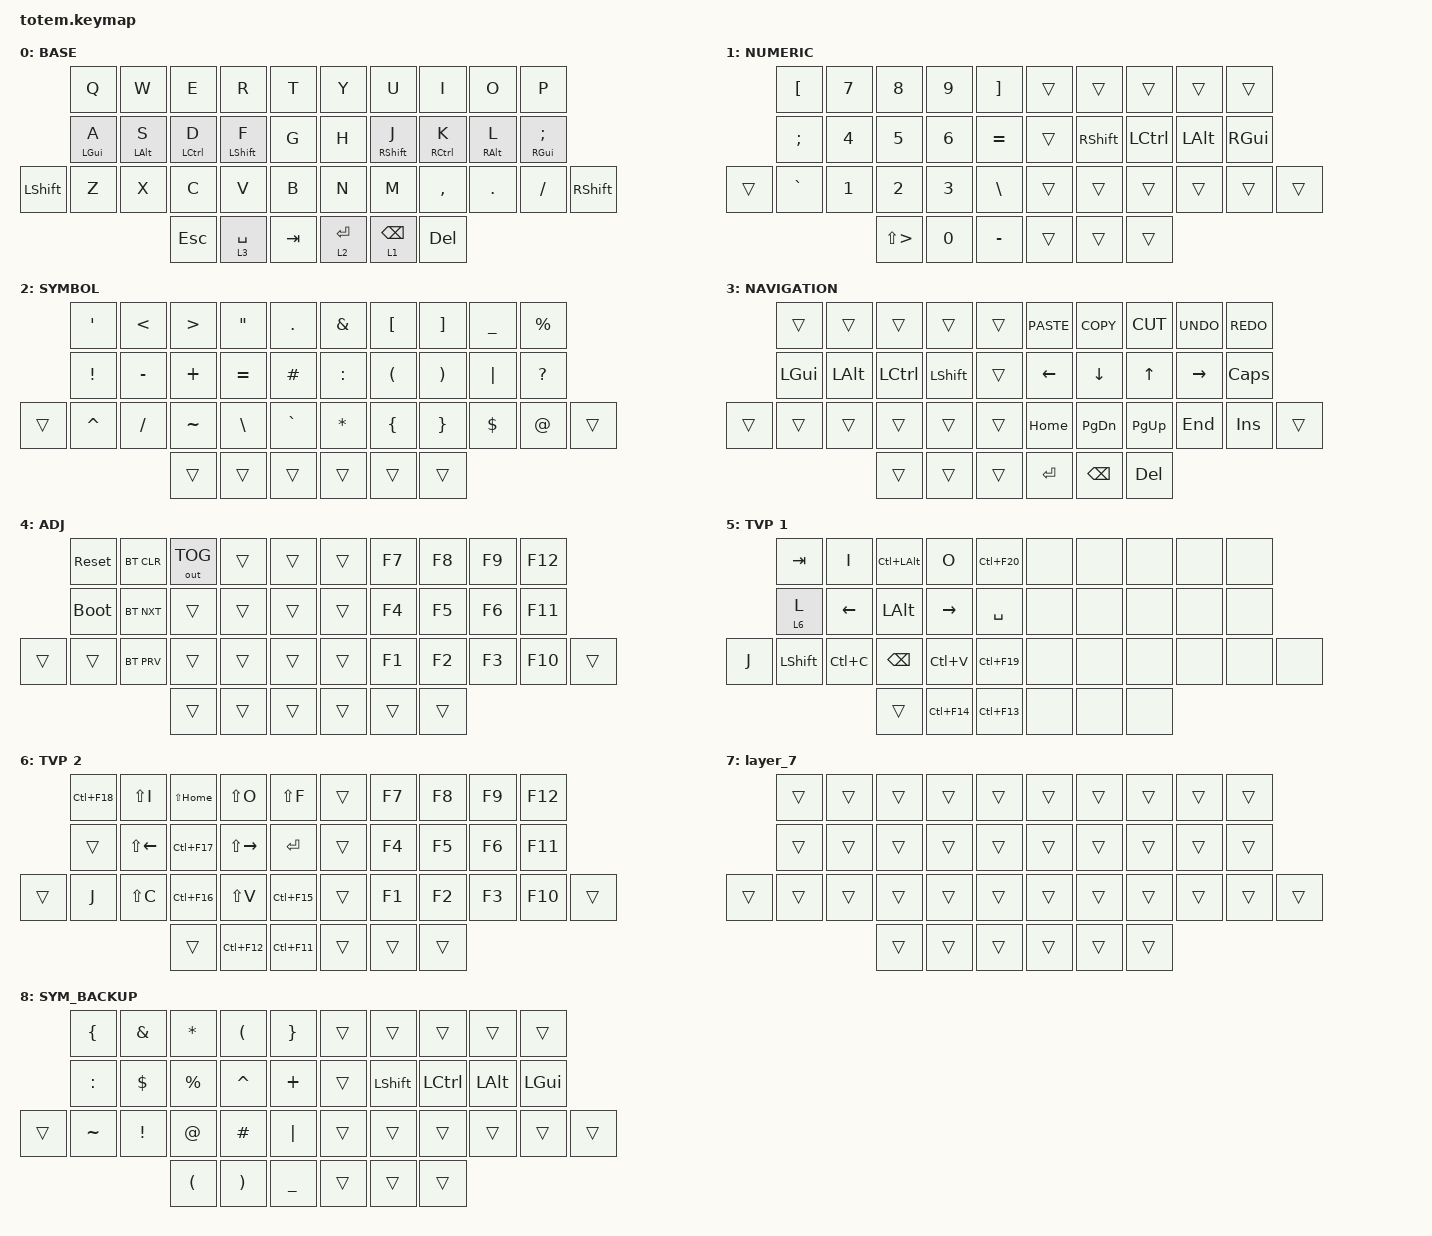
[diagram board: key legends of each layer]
//
//                                                        ▀▀▀▀▀     ▀▀▀▀▀          ▀▀█▀▀
//                                                        ▄▀▀▀▄  ▄  ▄▀▀▀▄  ▄  ▄▀▀▀▄  █  ▄▀▀▀▄
//                                                        █   █  █  █   █  █  █   █  █  █   █
//                                                         ▀▀▀   █   ▀▀▀   █   ▀▀▀   ▀   ▀▀▀
//                                                               █      ▄▄▄█▄▄▄    █   █  
//                                                               ▀      █  █  █     █▄█
//                                                             ▀▀▀▀▀    █  █  █      ▀
//                                                                      ▀  ▀  ▀
//
// ▄▄▄▄▄▄▄▄▄▄▄▄▄▄▄▄▄▄▄▄▄▄▄▄▄▄▄▄▄▄▄▄▄▄▄▄▄▄▄▄▄▄▄▄▄▄▄▄▄▄▄▄▄▄▄▄▄▄▄▄▄▄▄▄▄▄▄▄▄▄▄▄▄▄▄▄▄▄▄▄▄▄▄▄▄▄▄▄▄▄▄▄▄▄▄▄▄▄▄▄▄▄▄▄▄▄▄▄▄▄▄▄▄▄▄▄▄▄▄▄▄▄▄▄▄▄▄▄▄▄▄▄▄▄▄▄▄▄▄▄▄▄▄▄▄▄▄▄▄

#include <behaviors.dtsi>
#include <dt-bindings/zmk/bt.h>
#include <dt-bindings/zmk/keys.h>
#include <dt-bindings/zmk/outputs.h>

#define BASE 0
#define NAV  1
#define SYM  2
#define ADJ  3
#define TVP1 4
#define TVP2 5

/ {
    combos { compatible = "zmk,combos"; };

    behaviors {
        hml: homerow_mods_left {
            compatible = "zmk,behavior-hold-tap";
            label = "Homerow Mods - Left Hand";
            #binding-cells = <2>;
            flavor = "balanced";
            tapping-term-ms = <280>;
            hold-trigger-on-release;
            require-prior-idle-ms = <150>;
            bindings = <&kp>, <&kp>;

            hold-trigger-key-positions = <32 33 34 35 36 37 5 6 7 8 9 15 16 17 18 19 26 27 28 29 30 31 36 37>;
        };

        hmr: homerow_mods_right {
            compatible = "zmk,behavior-hold-tap";
            label = "Homerow Mods - Right Hand";
            #binding-cells = <2>;
            flavor = "balanced";
            tapping-term-ms = <280>;
            hold-trigger-on-release;
            require-prior-idle-ms = <150>;
            bindings = <&kp>, <&kp>;

            hold-trigger-key-positions = <35 36 37 0 1 2 3 4 10 11 12 13 14 20 21 22 23 24 25 32 33 34>;
        };
    };

    keymap {
        compatible = "zmk,keymap";

        // ▄▄▄▄▄▄▄▄▄▄▄▄▄▄▄▄▄▄▄▄▄▄▄▄▄▄▄▄▄▄▄▄▄▄▄▄▄▄▄▄▄▄▄▄▄▄▄▄▄▄▄▄▄▄▄▄▄▄▄▄▄▄▄▄▄▄▄▄▄▄▄▄▄▄▄▄▄▄▄▄▄▄▄▄▄▄▄▄▄▄▄▄▄▄▄▄▄▄▄▄▄▄▄▄▄▄▄▄▄▄▄▄▄▄▄▄▄▄▄▄▄▄▄▄▄▄▄▄▄▄▄▄▄▄▄▄▄▄▄▄▄▄▄▄▄▄▄▄▄

        base_layer {
            // ┏━━━━━━━━━━━━━━━━━━━━━━━━━━━━━━━━━━━━━━━┓

            label = "BASE";

            // ┗━━━━━━━━━━━━━━━━━━━━━━━━━━━━━━━━━━━━━━━┛
            //             ┏━━━━━━━━━━━┳━━━━━━━━━━━┳━━━━━━━━━━━┳━━━━━━━━━━━┳━━━━━━━━━━━┓   ┏━━━━━━━━━━━┳━━━━━━━━━━━┳━━━━━━━━━━━┳━━━━━━━━━━━┳━━━━━━━━━━━┓
            //             ┃     Q     ┃     W     ┃     F     ┃     P     ┃     G     ┃   ┃     J     ┃     L     ┃     U     ┃     Y     ┃     ;     ┃
            //             ┣━━━━━━━━━━━╋━━━━━━━━━━━╋━━━━━━━━━━━╋━━━━━━━━━━━╋━━━━━━━━━━━┫   ┣━━━━━━━━━━━╋━━━━━━━━━━━╋━━━━━━━━━━━╋━━━━━━━━━━━╋━━━━━━━━━━━┫
            //             ┃     A     ┃     R     ┃     S     ┃     T     ┃     D     ┃   ┃     H     ┃     N     ┃     E     ┃     I     ┃     O     ┃
            // ┏━━━━━━━━━━━╋━━━━━━━━━━━╋━━━━━━━━━━━╋━━━━━━━━━━━╋━━━━━━━━━━━╋━━━━━━━━━━━┫   ┣━━━━━━━━━━━╋━━━━━━━━━━━╋━━━━━━━━━━━╋━━━━━━━━━━━╋━━━━━━━━━━━╋━━━━━━━━━━━┓
            // ┃     Q     ┃     Z     ┃     X     ┃     C     ┃     V     ┃     B     ┃   ┃     K     ┃     M     ┃     ,     ┃     .     ┃     /     ┃     \     ┃
            // ┗━━━━━━━━━━━┻━━━━━━━━━━━┻━━━━━━━━━━━╋━━━━━━━━━━━╋━━━━━━━━━━━╋━━━━━━━━━━━┫   ┣━━━━━━━━━━━╋━━━━━━━━━━━╋━━━━━━━━━━━╋━━━━━━━━━━━┻━━━━━━━━━━━┻━━━━━━━━━━━┛
            //                                     ┃    DEL    ┃    TAB    ┃    SPC    ┃   ┃   ENTER   ┃           ┃   BSPC    ┃
            //                                     ┗━━━━━━━━━━━┻━━━━━━━━━━━┻━━━━━━━━━━━┛   ┗━━━━━━━━━━━┻━━━━━━━━━━━┻━━━━━━━━━━━┛

            bindings = <
                &kp Q        &kp W        &kp E         &kp R         &kp T      &kp Y        &kp U            &kp I         &kp O        &kp P
                &hml LGUI A  &hml LALT S  &hml LCTRL D  &hml LSHFT F  &kp G      &kp H        &hmr RSHFT J     &hmr RCTRL K  &hmr RALT L  &hmr RGUI SEMICOLON
&kp LEFT_SHIFT  &kp Z        &kp X        &kp C         &kp V         &kp B      &kp N        &kp M            &kp COMMA     &kp DOT      &kp FSLH             &kp RIGHT_SHIFT
                                          &kp ESCAPE    &lt 3 SPACE   &kp TAB    &lt 2 ENTER  &lt 1 BACKSPACE  &kp DELETE
            >;
        };

        numeric {
            bindings = <
        &kp LBKT   &kp N7  &kp N8      &kp N9  &kp RBKT     &trans  &trans     &trans     &trans    &trans
        &kp SEMI   &kp N4  &kp N5      &kp N6  &kp EQUAL    &trans  &kp RSHFT  &kp LCTRL  &kp LALT  &kp RGUI
&trans  &kp GRAVE  &kp N1  &kp N2      &kp N3  &kp BSLH     &trans  &trans     &trans     &trans    &trans    &trans
                           &kp LS(GT)  &kp N0  &kp MINUS    &trans  &trans     &trans
            >;

            label = "NUMERIC";
        };

        symbol {
            bindings = <
        &kp SINGLE_QUOTE  &kp LESS_THAN  &kp GREATER_THAN  &kp DOUBLE_QUOTES  &kp DOT      &kp AMPERSAND  &kp LBKT              &kp RBKT               &kp UNDERSCORE  &kp PERCENT
        &kp EXCLAMATION   &kp MINUS      &kp PLUS          &kp EQUAL          &kp HASH     &kp COLON      &kp LEFT_PARENTHESIS  &kp RIGHT_PARENTHESIS  &kp PIPE        &kp QUESTION
&trans  &kp CARET         &kp FSLH       &kp TILDE         &kp BSLH           &kp GRAVE    &kp ASTERISK   &kp LEFT_BRACE        &kp RIGHT_BRACE        &kp DOLLAR      &kp AT        &trans
                                         &trans            &trans             &trans       &trans         &trans                &trans
            >;

            label = "SYMBOL";
        };

        navigation {
            // ┏━━━━━━━━━━━━━━━━━━━━━━━━━━━━━━━━━━━━━━━┓

            label = "NAVIGATION";

            // ┗━━━━━━━━━━━━━━━━━━━━━━━━━━━━━━━━━━━━━━━┛
            //             ┏━━━━━━━━━━━┳━━━━━━━━━━━┳━━━━━━━━━━━┳━━━━━━━━━━━┳━━━━━━━━━━━┓   ┏━━━━━━━━━━━┳━━━━━━━━━━━┳━━━━━━━━━━━┳━━━━━━━━━━━┳━━━━━━━━━━━┓
            //             ┃           ┃           ┃     UP    ┃           ┃     {     ┃   ┃     }     ┃     7     ┃     8     ┃     9     ┃     +     ┃
            //             ┣━━━━━━━━━━━╋━━━━━━━━━━━╋━━━━━━━━━━━╋━━━━━━━━━━━╋━━━━━━━━━━━┫   ┣━━━━━━━━━━━╋━━━━━━━━━━━╋━━━━━━━━━━━╋━━━━━━━━━━━╋━━━━━━━━━━━┫
            //             ┃   SHIFT   ┃   LEFT    ┃    DOWN   ┃   RIGHT   ┃     [     ┃   ┃     ]     ┃     4     ┃     5     ┃     6     ┃     -     ┃
            // ┏━━━━━━━━━━━╋━━━━━━━━━━━╋━━━━━━━━━━━╋━━━━━━━━━━━╋━━━━━━━━━━━╋━━━━━━━━━━━┫   ┣━━━━━━━━━━━╋━━━━━━━━━━━╋━━━━━━━━━━━╋━━━━━━━━━━━╋━━━━━━━━━━━╋━━━━━━━━━━━┓
            // ┃           ┃           ┃   P UP    ┃  C LOCK   ┃  P DOWN   ┃     (     ┃   ┃     )     ┃     1     ┃     2     ┃     3     ┃     *     ┃           ┃
            // ┗━━━━━━━━━━━┻━━━━━━━━━━━┻━━━━━━━━━━━╋━━━━━━━━━━━╋━━━━━━━━━━━╋━━━━━━━━━━━┫   ┣━━━━━━━━━━━╋━━━━━━━━━━━╋━━━━━━━━━━━╋━━━━━━━━━━━┻━━━━━━━━━━━┻━━━━━━━━━━━┛
            //                                     ┃           ┃    TAB    ┃    SPC    ┃   ┃    DEL    ┃     0     ┃           ┃
            //                                     ┗━━━━━━━━━━━┻━━━━━━━━━━━┻━━━━━━━━━━━┛   ┗━━━━━━━━━━━┻━━━━━━━━━━━┻━━━━━━━━━━━┛

            bindings = <
        &trans        &trans        &trans            &trans          &trans    &kp K_PASTE     &kp K_COPY      &kp K_CUT     &kp K_UNDO       &kp K_REDO
        &kp LEFT_GUI  &kp LEFT_ALT  &kp LEFT_CONTROL  &kp LEFT_SHIFT  &trans    &kp LEFT_ARROW  &kp DOWN_ARROW  &kp UP_ARROW  &kp RIGHT_ARROW  &kp CAPSLOCK
&trans  &trans        &trans        &trans            &trans          &trans    &kp HOME        &kp PAGE_DOWN   &kp PAGE_UP   &kp END          &kp INSERT    &trans
                                    &trans            &trans          &trans    &kp ENTER       &kp BACKSPACE   &kp DELETE
            >;
        };

        adjust_layer {
            // ┏━━━━━━━━━━━━━━━━━━━━━━━━━━━━━━━━━━━━━━━┓

            label = "ADJ";

            // ┗━━━━━━━━━━━━━━━━━━━━━━━━━━━━━━━━━━━━━━━┛
            //             ┏━━━━━━━━━━━┳━━━━━━━━━━━┳━━━━━━━━━━━┳━━━━━━━━━━━┳━━━━━━━━━━━┓   ┏━━━━━━━━━━━┳━━━━━━━━━━━┳━━━━━━━━━━━┳━━━━━━━━━━━┳━━━━━━━━━━━┓
            //             ┃   RESET   ┃ BT CLEAR  ┃  OUT TOG  ┃           ┃           ┃   ┃           ┃    F7     ┃    F8     ┃    F9     ┃    F12    ┃
            //             ┣━━━━━━━━━━━╋━━━━━━━━━━━╋━━━━━━━━━━━╋━━━━━━━━━━━╋━━━━━━━━━━━┫   ┣━━━━━━━━━━━╋━━━━━━━━━━━╋━━━━━━━━━━━╋━━━━━━━━━━━╋━━━━━━━━━━━┫
            //             ┃ BOOTLOAD  ┃ BT NEXT   ┃           ┃           ┃           ┃   ┃           ┃    F4     ┃    F5     ┃    F6     ┃    F11    ┃
            // ┏━━━━━━━━━━━╋━━━━━━━━━━━╋━━━━━━━━━━━╋━━━━━━━━━━━╋━━━━━━━━━━━╋━━━━━━━━━━━┫   ┣━━━━━━━━━━━╋━━━━━━━━━━━╋━━━━━━━━━━━╋━━━━━━━━━━━╋━━━━━━━━━━━╋━━━━━━━━━━━┓
            // ┃           ┃           ┃ BT PREV   ┃           ┃           ┃           ┃   ┃           ┃    F1     ┃    F2     ┃    F3     ┃    F10    ┃           ┃
            // ┗━━━━━━━━━━━┻━━━━━━━━━━━┻━━━━━━━━━━━╋━━━━━━━━━━━╋━━━━━━━━━━━╋━━━━━━━━━━━┫   ┣━━━━━━━━━━━╋━━━━━━━━━━━╋━━━━━━━━━━━╋━━━━━━━━━━━┻━━━━━━━━━━━┻━━━━━━━━━━━┛
            //                                     ┃           ┃           ┃           ┃   ┃           ┃           ┃           ┃
            //                                     ┗━━━━━━━━━━━┻━━━━━━━━━━━┻━━━━━━━━━━━┛   ┗━━━━━━━━━━━┻━━━━━━━━━━━┻━━━━━━━━━━━┛

            bindings = <
        &sys_reset   &bt BT_CLR  &out OUT_TOG  &trans  &trans    &trans  &kp F7  &kp F8  &kp F9  &kp F12
        &bootloader  &bt BT_NXT  &trans        &trans  &trans    &trans  &kp F4  &kp F5  &kp F6  &kp F11
&trans  &trans       &bt BT_PRV  &trans        &trans  &trans    &trans  &kp F1  &kp F2  &kp F3  &kp F10  &trans
                                 &trans        &trans  &trans    &trans  &trans  &trans
            >;
        };

        tvp1_layer {
            // ┏━━━━━━━━━━━━━━━━━━━━━━━━━━━━━━━━━━━━━━━┓

            label = "TVP 1";

            // ┗━━━━━━━━━━━━━━━━━━━━━━━━━━━━━━━━━━━━━━━┛
            //             ┏━━━━━━━━━━━┳━━━━━━━━━━━┳━━━━━━━━━━━┳━━━━━━━━━━━┳━━━━━━━━━━━┓   ┏━━━━━━━━━━━┳━━━━━━━━━━━┳━━━━━━━━━━━┳━━━━━━━━━━━┳━━━━━━━━━━━┓
            //             ┃ NEXT FILE ┃ MARK IN   ┃ ROTATE    ┃ MARK OUT  ┃ SHOW SNAP ┃   ┃           ┃           ┃           ┃           ┃           ┃
            //             ┣━━━━━━━━━━━╋━━━━━━━━━━━╋━━━━━━━━━━━╋━━━━━━━━━━━╋━━━━━━━━━━━┫   ┣━━━━━━━━━━━╋━━━━━━━━━━━╋━━━━━━━━━━━╋━━━━━━━━━━━╋━━━━━━━━━━━┫
            //             ┃ TVP II    ┃ LEFT      ┃ PAN       ┃ RIGHT     ┃ PLAY/FLIP ┃   ┃           ┃           ┃           ┃           ┃           ┃
            // ┏━━━━━━━━━━━╋━━━━━━━━━━━╋━━━━━━━━━━━╋━━━━━━━━━━━╋━━━━━━━━━━━╋━━━━━━━━━━━┫   ┣━━━━━━━━━━━╋━━━━━━━━━━━╋━━━━━━━━━━━╋━━━━━━━━━━━╋━━━━━━━━━━━╋━━━━━━━━━━━┓
            // ┃ FULLSCR   ┃ SHIFT     ┃ COPY      ┃ DELETE    ┃ PASTE     ┃ IMG MARK  ┃   ┃           ┃           ┃           ┃           ┃           ┃           ┃
            // ┗━━━━━━━━━━━┻━━━━━━━━━━━┻━━━━━━━━━━━╋━━━━━━━━━━━╋━━━━━━━━━━━╋━━━━━━━━━━━┫   ┣━━━━━━━━━━━╋━━━━━━━━━━━╋━━━━━━━━━━━╋━━━━━━━━━━━┻━━━━━━━━━━━┻━━━━━━━━━━━┛
            //                                     ┃           ┃ UNDO/SAVE ┃  SEL/MOV  ┃   ┃           ┃           ┃           ┃
            //                                     ┗━━━━━━━━━━━┻━━━━━━━━━━━┻━━━━━━━━━━━┛   ┗━━━━━━━━━━━┻━━━━━━━━━━━┻━━━━━━━━━━━┛

            bindings = <
       &kp TAB    &kp I      &kp LC(LALT)  &kp O        &kp LC(F20)    &none  &none  &none  &none  &none
       &lt 6 L    &kp LEFT   &kp LALT      &kp RIGHT    &kp SPACE      &none  &none  &none  &none  &none
&kp J  &kp LSHFT  &kp LC(C)  &kp BSPC      &kp LC(V)    &kp LC(F19)    &none  &none  &none  &none  &none  &none
                             &trans        &kp LC(F14)  &kp LC(F13)    &none  &none  &none
            >;
        };

        tvp2_layer {
            // ┏━━━━━━━━━━━━━━━━━━━━━━━━━━━━━━━━━━━━━━━┓

            label = "TVP 2";

            // ┗━━━━━━━━━━━━━━━━━━━━━━━━━━━━━━━━━━━━━━━┛
            //             ┏━━━━━━━━━━━┳━━━━━━━━━━━┳━━━━━━━━━━━┳━━━━━━━━━━━┳━━━━━━━━━━━┓   ┏━━━━━━━━━━━┳━━━━━━━━━━━┳━━━━━━━━━━━┳━━━━━━━━━━━┳━━━━━━━━━━━┓
            //             ┃ SOLO      ┃ TOGGLE IN ┃ RESET ROT ┃ TOGGLE OUT┃ TAKE SNAP ┃   ┃           ┃           ┃           ┃           ┃           ┃
            //             ┣━━━━━━━━━━━╋━━━━━━━━━━━╋━━━━━━━━━━━╋━━━━━━━━━━━╋━━━━━━━━━━━┫   ┣━━━━━━━━━━━╋━━━━━━━━━━━╋━━━━━━━━━━━╋━━━━━━━━━━━╋━━━━━━━━━━━┫
            //             ┃ ---       ┃ LAST KEY  ┃ NEW KEY   ┃ NEXT KEY  ┃ ENTER     ┃   ┃           ┃           ┃           ┃           ┃           ┃
            // ┏━━━━━━━━━━━╋━━━━━━━━━━━╋━━━━━━━━━━━╋━━━━━━━━━━━╋━━━━━━━━━━━╋━━━━━━━━━━━┫   ┣━━━━━━━━━━━╋━━━━━━━━━━━╋━━━━━━━━━━━╋━━━━━━━━━━━╋━━━━━━━━━━━╋━━━━━━━━━━━┓
            // ┃           ┃ FULLSCR   ┃ CPY2BRUSH ┃ DEL HEAD  ┃ PSTinPLACE┃ BOOK MARK ┃   ┃           ┃           ┃           ┃           ┃           ┃           ┃
            // ┗━━━━━━━━━━━┻━━━━━━━━━━━┻━━━━━━━━━━━╋━━━━━━━━━━━╋━━━━━━━━━━━╋━━━━━━━━━━━┫   ┣━━━━━━━━━━━╋━━━━━━━━━━━╋━━━━━━━━━━━╋━━━━━━━━━━━┻━━━━━━━━━━━┻━━━━━━━━━━━┛
            //                                     ┃           ┃ REDO/SAV1 ┃TRANS/WARP ┃   ┃           ┃           ┃           ┃
            //                                     ┗━━━━━━━━━━━┻━━━━━━━━━━━┻━━━━━━━━━━━┛   ┗━━━━━━━━━━━┻━━━━━━━━━━━┻━━━━━━━━━━━┛

            bindings = <
        &kp LC(F18)  &kp LS(I)     &kp LS(HOME)  &kp LS(O)      &kp LS(F)      &trans  &kp F7  &kp F8  &kp F9  &kp F12
        &trans       &kp LS(LEFT)  &kp LC(F17)   &kp LS(RIGHT)  &kp RET        &trans  &kp F4  &kp F5  &kp F6  &kp F11
&trans  &kp J        &kp LS(C)     &kp LC(F16)   &kp LS(V)      &kp LC(F15)    &trans  &kp F1  &kp F2  &kp F3  &kp F10  &trans
                                   &trans        &kp LC(F12)    &kp LC(F11)    &trans  &trans  &trans
            >;
        };

        layer_7 {
            bindings = <
        &trans  &trans  &trans  &trans  &trans    &trans  &trans  &trans  &trans  &trans
        &trans  &trans  &trans  &trans  &trans    &trans  &trans  &trans  &trans  &trans
&trans  &trans  &trans  &trans  &trans  &trans    &trans  &trans  &trans  &trans  &trans  &trans
                        &trans  &trans  &trans    &trans  &trans  &trans
            >;
        };

        sum_backup {
            // ┏━━━━━━━━━━━━━━━━━━━━━━━━━━━━━━━━━━━━━━━┓

            label = "SYM_BACKUP";

            // ┗━━━━━━━━━━━━━━━━━━━━━━━━━━━━━━━━━━━━━━━┛
            //             ┏━━━━━━━━━━━┳━━━━━━━━━━━┳━━━━━━━━━━━┳━━━━━━━━━━━┳━━━━━━━━━━━┓   ┏━━━━━━━━━━━┳━━━━━━━━━━━┳━━━━━━━━━━━┳━━━━━━━━━━━┳━━━━━━━━━━━┓
            //             ┃     !     ┃     @     ┃     #     ┃     $     ┃     %     ┃   ┃     ˆ     ┃     &     ┃     Ü     ┃     '     ┃     "     ┃
            //             ┣━━━━━━━━━━━╋━━━━━━━━━━━╋━━━━━━━━━━━╋━━━━━━━━━━━╋━━━━━━━━━━━┫   ┣━━━━━━━━━━━╋━━━━━━━━━━━╋━━━━━━━━━━━╋━━━━━━━━━━━╋━━━━━━━━━━━┫
            //             ┃     Ä     ┃           ┃    SZ     ┃           ┃           ┃   ┃   MUTE    ┃   YEN     ┃   EURO    ┃  POUND    ┃     Ö     ┃
            // ┏━━━━━━━━━━━╋━━━━━━━━━━━╋━━━━━━━━━━━╋━━━━━━━━━━━╋━━━━━━━━━━━╋━━━━━━━━━━━┫   ┣━━━━━━━━━━━╋━━━━━━━━━━━╋━━━━━━━━━━━╋━━━━━━━━━━━╋━━━━━━━━━━━╋━━━━━━━━━━━┓
            // ┃           ┃  EMAIL1   ┃  EMAIL2   ┃           ┃           ┃           ┃   ┃   VOL-    ┃   VOL+    ┃   LAST    ┃   NEXT    ┃     \     ┃           ┃
            // ┗━━━━━━━━━━━┻━━━━━━━━━━━┻━━━━━━━━━━━╋━━━━━━━━━━━╋━━━━━━━━━━━╋━━━━━━━━━━━┫   ┣━━━━━━━━━━━╋━━━━━━━━━━━╋━━━━━━━━━━━╋━━━━━━━━━━━┻━━━━━━━━━━━┻━━━━━━━━━━━┛
            //                                     ┃           ┃    GIF    ┃    ADJ    ┃   ┃           ┃           ┃           ┃
            //                                     ┗━━━━━━━━━━━┻━━━━━━━━━━━┻━━━━━━━━━━━┛   ┗━━━━━━━━━━━┻━━━━━━━━━━━┻━━━━━━━━━━━┛

            bindings = <
        &kp LEFT_BRACE  &kp AMPERSAND    &kp ASTERISK          &kp LEFT_PARENTHESIS   &kp RIGHT_BRACE    &trans  &trans          &trans            &trans        &trans
        &kp COLON       &kp DOLLAR       &kp PERCENT           &kp CARET              &kp PLUS           &trans  &kp LEFT_SHIFT  &kp LEFT_CONTROL  &kp LEFT_ALT  &kp LEFT_GUI
&trans  &kp TILDE       &kp EXCLAMATION  &kp AT                &kp HASH               &kp PIPE           &trans  &trans          &trans            &trans        &trans        &trans
                                         &kp LEFT_PARENTHESIS  &kp RIGHT_PARENTHESIS  &kp UNDERSCORE     &trans  &trans          &trans
            >;
        };
    };
};
